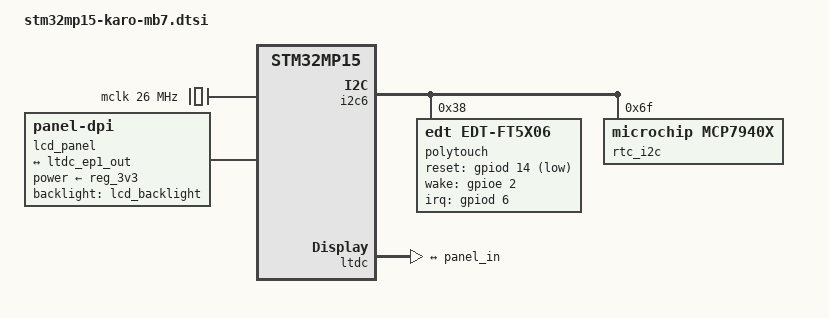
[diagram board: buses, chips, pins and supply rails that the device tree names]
// SPDX-License-Identifier: (GPL-2.0 OR BSD-3-Clause)

/ {
	aliases {
		display = &lcd_panel;
	};

	clocks {
		#address-cells = <1>;
		#size-cells = <0>;

		mclk: clock@0 {
			compatible = "fixed-clock";
			#clock-cells = <0>;
			reg = <0>;
			clock-frequency = <26000000>;
		};
	};

	lcd_panel: lcd-panel {
		compatible = "panel-dpi";
		pinctrl-0 = <&txmp_ltdc_pins>;
		pinctrl-1 = <&txmp_ltdc_sleep>;
		backlight = <&lcd_backlight>;
		power-supply = <&reg_3v3>;
		status = "okay";
		data-mapping = "rgb24";

		panel-timing {
			clock-frequency = <25200000>;
			hactive = <640>;
			vactive = <480>;
			hback-porch = <114>;
			hsync-len = <30>;
			hfront-porch = <16>;
			vback-porch = <32>;
			vsync-len = <3>;
			vfront-porch = <10>;
			hsync-active = <0>;
			vsync-active = <0>;
			de-active = <1>;
			pixelclk-active = <1>;
		};

		port {
			panel_in: endpoint {
				remote-endpoint = <&ltdc_ep1_out>;
			};
		};
	};
};

&i2c6 {
	status = "okay";

	polytouch: edt-ft5x06@38 {
		compatible = "edt,edt-ft5x06";
		reg = <0x38>;
		interrupt-parent = <&gpiod>;
		interrupts = <6 IRQ_TYPE_EDGE_FALLING>;
		reset-gpios = <&gpiod 14 GPIO_ACTIVE_LOW>; /* Pin 149 */
		wake-gpios = <&gpioe 2 GPIO_ACTIVE_HIGH>; /* Pin 152 */
		wakeup-source;
		status = "okay";
	};

	rtc_i2c: mcp7940x@6f {
		compatible = "microchip,mcp7940x";
		reg = <0x6f>;
		status = "okay";
	};
};

&ltdc {
	status = "okay";

	port {
		#address-cells = <1>;
		#size-cells = <0>;

		ltdc_ep1_out: endpoint@1 {
			reg = <1>;
			remote-endpoint = <&panel_in>;
		};
	};
};

&sdmmc3 {
	/* not usable due to pinswap of SDMMC3_CMD and SDMMC3_D0 */
	status = "disabled";
};

&pinctrl {
	txmp_ltdc_pins: txmp-ltdc-pins {
		pins1 {
			pinmux = <
				  /* LCD_R0 is not connected! */
				  //STM32_PINMUX('G',  9, AF14) /* LCD_R1 */
				  STM32_PINMUX('C', 10, AF14) /* LCD_R2 */
				  STM32_PINMUX('B',  0,  AF9) /* LCD_R3 */
				  STM32_PINMUX('A',  5, AF14) /* LCD_R4 */
				  STM32_PINMUX('C',  0, AF14) /* LCD_R5 */
				  STM32_PINMUX('B',  1,  AF9) /* LCD_R6 */
				  STM32_PINMUX('E', 15, AF14) /* LCD_R7 */
				  //STM32_PINMUX('E', 14, AF13) /* LCD_G0 */
				  //STM32_PINMUX('E',  6, AF14) /* LCD_G1 */
				  STM32_PINMUX('A',  6, AF14) /* LCD_G2 */
				  STM32_PINMUX('E', 11, AF14) /* LCD_G3 */
				  STM32_PINMUX('B', 10, AF14) /* LCD_G4 */
				  STM32_PINMUX('F', 11, AF14) /* LCD_G5 */
				  STM32_PINMUX('C',  7, AF14) /* LCD_G6 */
				  STM32_PINMUX('D',  3, AF14) /* LCD_G7 */
				  //STM32_PINMUX('D',  9, AF14) /* LCD_B0 */
				  //STM32_PINMUX('G', 12, AF14) /* LCD_B1 */
				  STM32_PINMUX('G', 10, AF14) /* LCD_B2 */
				  STM32_PINMUX('D', 10, AF14) /* LCD_B3 */
				  STM32_PINMUX('E', 12, AF14) /* LCD_B4 */
				  STM32_PINMUX('A',  3, AF14) /* LCD_B5 */
				  STM32_PINMUX('B',  8, AF14) /* LCD_B6 */
				  STM32_PINMUX('D',  8, AF14) /* LCD_B7 */
				>;
			bias-disable;
			drive-push-pull;
			slew-rate = <0>;
		};

		pins2 {
			pinmux = <STM32_PINMUX('G',  7, AF14) /* LCD_CLK */
				  STM32_PINMUX('C',  6, AF14) /* LCD_HSYNC */
				  STM32_PINMUX('A',  4, AF14) /* LCD_VSYNC */
				>;
			bias-disable;
			drive-push-pull;
			slew-rate = <1>;
		};

		pins3 {
			pinmux = <
				  STM32_PINMUX('E', 13, AF14) /* LCD_DE */
				>;
			bias-disable;
			drive-push-pull;
			slew-rate = <3>;
		};
	};

	txmp_ltdc_sleep: txmp-lcd-sleep {
		pins {
			pinmux = <
				  STM32_PINMUX('G',  7, ANALOG) /* LCD_CLK */
				  STM32_PINMUX('C',  6, ANALOG) /* LCD_HSYNC */
				  STM32_PINMUX('A',  4, ANALOG) /* LCD_VSYNC */
				  STM32_PINMUX('E', 13, ANALOG) /* LCD_DE */
				  /* LCD_R0 is not connected! */
				  //STM32_PINMUX('G',  9, ANALOG) /* LCD_R1 */
				  STM32_PINMUX('C', 10, ANALOG) /* LCD_R2 */
				  STM32_PINMUX('B',  0, ANALOG) /* LCD_R3 */
				  STM32_PINMUX('A',  5, ANALOG) /* LCD_R4 */
				  STM32_PINMUX('C',  0, ANALOG) /* LCD_R5 */
				  STM32_PINMUX('B',  1, ANALOG) /* LCD_R6 */
				  STM32_PINMUX('E', 15, ANALOG) /* LCD_R7 */
				  //STM32_PINMUX('E', 14, ANALOG) /* LCD_G0 */
				  //STM32_PINMUX('E',  6, ANALOG) /* LCD_G1 */
				  STM32_PINMUX('A',  6, ANALOG) /* LCD_G2 */
				  STM32_PINMUX('E', 11, ANALOG) /* LCD_G3 */
				  STM32_PINMUX('B', 10, ANALOG) /* LCD_G4 */
				  STM32_PINMUX('F', 11, ANALOG) /* LCD_G5 */
				  STM32_PINMUX('C',  7, ANALOG) /* LCD_G6 */
				  STM32_PINMUX('D',  3, ANALOG) /* LCD_G7 */
				  //STM32_PINMUX('D',  9, ANALOG) /* LCD_B0 */
				  //STM32_PINMUX('G', 12, ANALOG) /* LCD_B1 */
				  STM32_PINMUX('G', 10, ANALOG) /* LCD_B2 */
				  STM32_PINMUX('D', 10, ANALOG) /* LCD_B3 */
				  STM32_PINMUX('E', 12, ANALOG) /* LCD_B4 */
				  STM32_PINMUX('A',  3, ANALOG) /* LCD_B5 */
				  STM32_PINMUX('B',  8, ANALOG) /* LCD_B6 */
				  STM32_PINMUX('D',  8, ANALOG) /* LCD_B7 */
				>;
		};
	};
};
